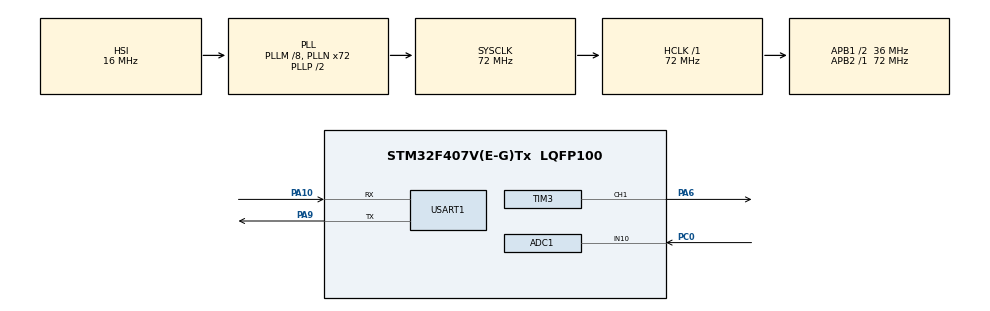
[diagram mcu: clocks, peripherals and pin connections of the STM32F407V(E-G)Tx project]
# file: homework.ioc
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ADC1.Channel-1\#ChannelRegularConversion=ADC_CHANNEL_10
ADC1.ExternalTrigConv=ADC_SOFTWARE_START
ADC1.NbrOfConversionFlag=1
ADC1.Rank-1\#ChannelRegularConversion=1
ADC1.SamplingTime-1\#ChannelRegularConversion=ADC_SAMPLETIME_3CYCLES
ADC1.master=1
Dma.ADC1.2.Direction=DMA_PERIPH_TO_MEMORY
Dma.ADC1.2.FIFOMode=DMA_FIFOMODE_DISABLE
Dma.ADC1.2.Instance=DMA2_Stream0
Dma.ADC1.2.MemDataAlignment=DMA_MDATAALIGN_HALFWORD
Dma.ADC1.2.MemInc=DMA_MINC_ENABLE
Dma.ADC1.2.Mode=DMA_NORMAL
Dma.ADC1.2.PeriphDataAlignment=DMA_PDATAALIGN_HALFWORD
Dma.ADC1.2.PeriphInc=DMA_PINC_DISABLE
Dma.ADC1.2.Priority=DMA_PRIORITY_LOW
Dma.Request0=USART1_RX
Dma.Request1=USART1_TX
Dma.Request2=ADC1
Dma.USART1_RX.0.Direction=DMA_PERIPH_TO_MEMORY
Dma.USART1_RX.0.FIFOMode=DMA_FIFOMODE_DISABLE
Dma.USART1_RX.0.Instance=DMA2_Stream2
Dma.USART1_RX.0.MemDataAlignment=DMA_MDATAALIGN_BYTE
Dma.USART1_RX.0.MemInc=DMA_MINC_ENABLE
Dma.USART1_RX.0.Mode=DMA_NORMAL
Dma.USART1_RX.0.PeriphDataAlignment=DMA_PDATAALIGN_BYTE
Dma.USART1_RX.0.PeriphInc=DMA_PINC_DISABLE
Dma.USART1_RX.0.Priority=DMA_PRIORITY_LOW
Dma.USART1_TX.1.Direction=DMA_MEMORY_TO_PERIPH
Dma.USART1_TX.1.FIFOMode=DMA_FIFOMODE_DISABLE
Dma.USART1_TX.1.Instance=DMA2_Stream7
Dma.USART1_TX.1.MemDataAlignment=DMA_MDATAALIGN_BYTE
Dma.USART1_TX.1.MemInc=DMA_MINC_ENABLE
Dma.USART1_TX.1.Mode=DMA_NORMAL
Dma.USART1_TX.1.PeriphDataAlignment=DMA_PDATAALIGN_BYTE
Dma.USART1_TX.1.PeriphInc=DMA_PINC_DISABLE
Dma.USART1_TX.1.Priority=DMA_PRIORITY_LOW
Mcu.Family=STM32F4
Mcu.Name=STM32F407V(E-G)Tx
Mcu.Package=LQFP100
NVIC.DMA2_Stream0_IRQn=true\:0\:0\:false\:false\:true\:false\:true\:true
NVIC.DMA2_Stream2_IRQn=true\:0\:0\:false\:false\:true\:false\:true\:true
NVIC.DMA2_Stream7_IRQn=true\:0\:0\:false\:false\:true\:false\:true\:true
NVIC.PriorityGroup=NVIC_PRIORITYGROUP_4
NVIC.TIM3_IRQn=true\:0\:0\:false\:false\:true\:true\:true\:true
NVIC.USART1_IRQn=true\:0\:0\:false\:false\:true\:true\:true\:true
PA10.Mode=Asynchronous
PA10.Signal=USART1_RX
PA13.Mode=Serial_Wire
PA13.Signal=SYS_JTMS-SWDIO
PA14.Mode=Serial_Wire
PA14.Signal=SYS_JTCK-SWCLK
PA6.Signal=S_TIM3_CH1
PA9.Mode=Asynchronous
PA9.Signal=USART1_TX
PC0.Signal=ADCx_IN10
PH0-OSC_IN.Mode=HSE-External-Oscillator
PH0-OSC_IN.Signal=RCC_OSC_IN
PH1-OSC_OUT.Mode=HSE-External-Oscillator
PH1-OSC_OUT.Signal=RCC_OSC_OUT
ProjectManager.HeapSize=0x200
ProjectManager.StackSize=0x400
ProjectManager.TargetToolchain=CMake
RCC.48MHZClocksFreq_Value=36000000
RCC.AHBFreq_Value=72000000
RCC.APB1CLKDivider=RCC_HCLK_DIV2
RCC.APB1Freq_Value=36000000
RCC.APB1TimFreq_Value=72000000
RCC.APB2Freq_Value=72000000
RCC.APB2TimFreq_Value=72000000
RCC.CortexFreq_Value=72000000
RCC.HCLKFreq_Value=72000000
RCC.HSE_VALUE=25000000
RCC.HSI_VALUE=16000000
RCC.LSE_VALUE=32768
RCC.PLLM=8
RCC.PLLN=72
RCC.SYSCLKFreq_VALUE=72000000
RCC.SYSCLKSource=RCC_SYSCLKSOURCE_PLLCLK
RCC.VCOOutputFreq_Value=144000000
SH.ADCx_IN10.0=ADC1_IN10,IN10
SH.S_TIM3_CH1.0=TIM3_CH1,PWM Generation1 CH1
TIM2.Period=10-1
TIM2.Prescaler=72-1
TIM2.TIM_MasterOutputTrigger=TIM_TRGO_UPDATE
TIM3.Channel-PWM\ Generation1\ CH1=TIM_CHANNEL_1
TIM3.Period=100-1
TIM3.Prescaler=72-1
USART1.VirtualMode=VM_ASYNC
VP_TIM2_VS_ClockSourceINT.Mode=Internal
VP_TIM3_VS_ClockSourceINT.Mode=Internal
board=custom

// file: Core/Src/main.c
/* USER CODE BEGIN Header */
/**
  ******************************************************************************
  * @file           : main.c
  * @brief          : Main program body
  ******************************************************************************
  * @attention
  *
  * Copyright (c) 2025 STMicroelectronics.
  * All rights reserved.
  *
  * This software is licensed under terms that can be found in the LICENSE file
  * in the root directory of this software component.
  * If no LICENSE file comes with this software, it is provided AS-IS.
  *
  ******************************************************************************
  */
/* USER CODE END Header */
#include "main.h"

/* USER CODE BEGIN Includes */
#include <stdbool.h>
#include <stdio.h>
#include <stdlib.h>
#include <string.h>
/* USER CODE END Includes */

/* USER CODE BEGIN PD */
#define BRIGHTNESS 225
#define ADC_BUFFER 1
/* USER CODE END PD */

ADC_HandleTypeDef hadc1;
DMA_HandleTypeDef hdma_adc1;

TIM_HandleTypeDef htim2;
TIM_HandleTypeDef htim3;

UART_HandleTypeDef huart1;
DMA_HandleTypeDef hdma_usart1_rx;
DMA_HandleTypeDef hdma_usart1_tx;

/* USER CODE BEGIN PV */
//点灯
char message[40]="";
int blink_frequency,breathe_frequency;
uint32_t blink_update,blink_counter=0,blink_mode=0;
uint32_t breathe_update,breathe_counter=0,breathe_mode=0,breathe_compare;
int blink_state=0,breathe_state=0;//breathe_state=1代表渐亮，0代表渐暗;
//DMA测量
int value = 0;
float voltage = 0.0;
char DMA_message[30] = "";
uint32_t last_adc_print = 0;
/* USER CODE END PV */

void SystemClock_Config(void);
static void MX_GPIO_Init(void);
static void MX_DMA_Init(void);
static void MX_TIM3_Init(void);
static void MX_USART1_UART_Init(void);
static void MX_ADC1_Init(void);
static void MX_TIM2_Init(void);

/* USER CODE BEGIN 0 */
//点灯，引脚PA6
void HAL_UARTEx_RxEventCallback(UART_HandleTypeDef *huart, uint16_t Size) {
  if (huart == &huart1) {
    message[Size]='\0';
    blink_mode=0;
    breathe_mode=0;
    HAL_UART_Transmit(&huart1, (uint8_t *)message, Size,HAL_MAX_DELAY);
    if (strncmp(message,"set_mode on",11)==0) {
      HAL_TIM_PWM_Start(&htim3, TIM_CHANNEL_1);
      __HAL_TIM_SET_COMPARE(&htim3,TIM_CHANNEL_1,150);//重装载是0-255
    }
    else if (strncmp(message,"set_mode off",12)==0) {
      HAL_TIM_PWM_Stop(&htim3, TIM_CHANNEL_1);
    }
    else if (strncmp(message,"set_brightness ",15)==0) {
      HAL_TIM_PWM_Start(&htim3, TIM_CHANNEL_1);
      int brightness=atoi(message+15);//亮度介于0-255之间
      __HAL_TIM_SET_COMPARE(&htim3,TIM_CHANNEL_1,brightness);
    }
    else if (strncmp(message,"set_mode blink ",15)==0) {
      HAL_TIM_PWM_Start(&htim3, TIM_CHANNEL_1);
      blink_mode=1;
      blink_frequency=atoi(message+15);
      blink_update=2212/blink_frequency;//算阈值
      }
    else if (strncmp(message,"set_mode breathe ",17)==0) {
      HAL_TIM_PWM_Start(&htim3, TIM_CHANNEL_1);
      breathe_mode=1;
      breathe_frequency=atoi(message+17);
      breathe_update=2212/breathe_frequency;
    }
    memset(message,0,40);
    HAL_UARTEx_ReceiveToIdle_DMA(&huart1,(uint8_t*)message,40);
    __HAL_DMA_DISABLE_IT(&hdma_usart1_rx,DMA_IT_HT);
  }
}
void HAL_TIM_PeriodElapsedCallback(TIM_HandleTypeDef *htim) {//按频率闪烁，用于计算PWM周期的次数，以便到达阈值后反转小灯状态
  if (htim->Instance == htim3.Instance) {
    if (blink_frequency>0&&blink_mode==1) {
      if (blink_update>0) {
        blink_counter++;
        if (blink_counter>=blink_update) {
          blink_counter=0;
          blink_state=!blink_state;
        }
      }
    }
    if (breathe_mode==1) {
      if (breathe_frequency>0) {
        if (breathe_update>0) {
          breathe_counter++;
          if (breathe_counter>=breathe_update) {
            breathe_counter=0;
            breathe_state=!breathe_state;
          }
          if (breathe_state==1) {
            breathe_compare=breathe_counter*BRIGHTNESS/breathe_update;
          }
          else {
            breathe_compare=1-breathe_counter*BRIGHTNESS/breathe_update;
          }
          __HAL_TIM_SET_COMPARE(&htim3,TIM_CHANNEL_1,breathe_compare);
        }
      }
    }
  }
  if (htim->Instance == htim2.Instance) {//tim2中断处理，ADC测量结果发送频率为72M/72/100000=10Hz，100ms发送一次
    if (value <=4095) {
      voltage = (value/4095)*3.3;
      sprintf(DMA_message,"Voltage: %.2fV",voltage);
      HAL_UART_Transmit(&huart1,(uint8_t *)DMA_message,strlen(DMA_message),HAL_MAX_DELAY);
    }
  }
}

/* USER CODE END 0 */

int main(void)
{

  /* MCU Configuration--------------------------------------------------------*/

  /* Reset of all peripherals, Initializes the Flash interface and the Systick. */
  HAL_Init();

  /* Configure the system clock */
  SystemClock_Config();

  /* Initialize all configured peripherals */
  MX_GPIO_Init();
  MX_DMA_Init();
  MX_TIM3_Init();
  MX_USART1_UART_Init();
  MX_ADC1_Init();
  MX_TIM2_Init();
  /* USER CODE BEGIN 2 */
  __HAL_TIM_ENABLE_IT(&htim3,TIM_IT_UPDATE);
  HAL_UARTEx_ReceiveToIdle_DMA(&huart1,(uint8_t*)message,40);
  __HAL_DMA_DISABLE_IT(&hdma_usart1_rx,DMA_IT_HT);
  HAL_TIM_Base_Start(&htim2);
  HAL_ADC_Start_DMA(&hadc1,(uint32_t*)value,ADC_BUFFER);
  /* USER CODE END 2 */

  /* Infinite loop */
  /* USER CODE BEGIN WHILE */
  while (1) {
    if (blink_mode==1) {
      if (blink_state==1) {
        __HAL_TIM_SET_COMPARE(&htim3,TIM_CHANNEL_1,225);
      }
      else {
        __HAL_TIM_SET_COMPARE(&htim3,TIM_CHANNEL_1,0);
      }
    }
  }

    /* USER CODE END WHILE */

}

void SystemClock_Config(void)
{
  RCC_OscInitTypeDef RCC_OscInitStruct = {0};
  RCC_ClkInitTypeDef RCC_ClkInitStruct = {0};

  /** Configure the main internal regulator output voltage
  */
  __HAL_RCC_PWR_CLK_ENABLE();
  __HAL_PWR_VOLTAGESCALING_CONFIG(PWR_REGULATOR_VOLTAGE_SCALE1);

  /** Initializes the RCC Oscillators according to the specified parameters
  * in the RCC_OscInitTypeDef structure.
  */
  RCC_OscInitStruct.OscillatorType = RCC_OSCILLATORTYPE_HSI;
  RCC_OscInitStruct.HSIState = RCC_HSI_ON;
  RCC_OscInitStruct.HSICalibrationValue = RCC_HSICALIBRATION_DEFAULT;
  RCC_OscInitStruct.PLL.PLLState = RCC_PLL_ON;
  RCC_OscInitStruct.PLL.PLLSource = RCC_PLLSOURCE_HSI;
  RCC_OscInitStruct.PLL.PLLM = 8;
  RCC_OscInitStruct.PLL.PLLN = 72;
  RCC_OscInitStruct.PLL.PLLP = RCC_PLLP_DIV2;
  RCC_OscInitStruct.PLL.PLLQ = 4;
  if (HAL_RCC_OscConfig(&RCC_OscInitStruct) != HAL_OK)
  {
    Error_Handler();
  }

  /** Initializes the CPU, AHB and APB buses clocks
  */
  RCC_ClkInitStruct.ClockType = RCC_CLOCKTYPE_HCLK|RCC_CLOCKTYPE_SYSCLK
                              |RCC_CLOCKTYPE_PCLK1|RCC_CLOCKTYPE_PCLK2;
  RCC_ClkInitStruct.SYSCLKSource = RCC_SYSCLKSOURCE_PLLCLK;
  RCC_ClkInitStruct.AHBCLKDivider = RCC_SYSCLK_DIV1;
  RCC_ClkInitStruct.APB1CLKDivider = RCC_HCLK_DIV2;
  RCC_ClkInitStruct.APB2CLKDivider = RCC_HCLK_DIV1;

  if (HAL_RCC_ClockConfig(&RCC_ClkInitStruct, FLASH_LATENCY_2) != HAL_OK)
  {
    Error_Handler();
  }
}

static void MX_ADC1_Init(void)
{

  ADC_ChannelConfTypeDef sConfig = {0};

  /** Configure the global features of the ADC (Clock, Resolution, Data Alignment and number of conversion)
  */
  hadc1.Instance = ADC1;
  hadc1.Init.ClockPrescaler = ADC_CLOCK_SYNC_PCLK_DIV2;
  hadc1.Init.Resolution = ADC_RESOLUTION_12B;
  hadc1.Init.ScanConvMode = DISABLE;
  hadc1.Init.ContinuousConvMode = DISABLE;
  hadc1.Init.DiscontinuousConvMode = DISABLE;
  hadc1.Init.ExternalTrigConvEdge = ADC_EXTERNALTRIGCONVEDGE_NONE;
  hadc1.Init.ExternalTrigConv = ADC_SOFTWARE_START;
  hadc1.Init.DataAlign = ADC_DATAALIGN_RIGHT;
  hadc1.Init.NbrOfConversion = 1;
  hadc1.Init.DMAContinuousRequests = DISABLE;
  hadc1.Init.EOCSelection = ADC_EOC_SINGLE_CONV;
  if (HAL_ADC_Init(&hadc1) != HAL_OK)
  {
    Error_Handler();
  }

  /** Configure for the selected ADC regular channel its corresponding rank in the sequencer and its sample time.
  */
  sConfig.Channel = ADC_CHANNEL_10;
  sConfig.Rank = 1;
  sConfig.SamplingTime = ADC_SAMPLETIME_3CYCLES;
  if (HAL_ADC_ConfigChannel(&hadc1, &sConfig) != HAL_OK)
  {
    Error_Handler();
  }

}

static void MX_TIM2_Init(void)
{

  TIM_ClockConfigTypeDef sClockSourceConfig = {0};
  TIM_MasterConfigTypeDef sMasterConfig = {0};

  htim2.Instance = TIM2;
  htim2.Init.Prescaler = 72-1;
  htim2.Init.CounterMode = TIM_COUNTERMODE_UP;
  htim2.Init.Period = 10-1;
  htim2.Init.ClockDivision = TIM_CLOCKDIVISION_DIV1;
  htim2.Init.AutoReloadPreload = TIM_AUTORELOAD_PRELOAD_DISABLE;
  if (HAL_TIM_Base_Init(&htim2) != HAL_OK)
  {
    Error_Handler();
  }
  sClockSourceConfig.ClockSource = TIM_CLOCKSOURCE_INTERNAL;
  if (HAL_TIM_ConfigClockSource(&htim2, &sClockSourceConfig) != HAL_OK)
  {
    Error_Handler();
  }
  sMasterConfig.MasterOutputTrigger = TIM_TRGO_UPDATE;
  sMasterConfig.MasterSlaveMode = TIM_MASTERSLAVEMODE_DISABLE;
  if (HAL_TIMEx_MasterConfigSynchronization(&htim2, &sMasterConfig) != HAL_OK)
  {
    Error_Handler();
  }

}

static void MX_TIM3_Init(void)
{

  TIM_ClockConfigTypeDef sClockSourceConfig = {0};
  TIM_MasterConfigTypeDef sMasterConfig = {0};
  TIM_OC_InitTypeDef sConfigOC = {0};

  htim3.Instance = TIM3;
  htim3.Init.Prescaler = 72-1;
  htim3.Init.CounterMode = TIM_COUNTERMODE_UP;
  htim3.Init.Period = 100-1;
  htim3.Init.ClockDivision = TIM_CLOCKDIVISION_DIV1;
  htim3.Init.AutoReloadPreload = TIM_AUTORELOAD_PRELOAD_DISABLE;
  if (HAL_TIM_Base_Init(&htim3) != HAL_OK)
  {
    Error_Handler();
  }
  sClockSourceConfig.ClockSource = TIM_CLOCKSOURCE_INTERNAL;
  if (HAL_TIM_ConfigClockSource(&htim3, &sClockSourceConfig) != HAL_OK)
  {
    Error_Handler();
  }
  if (HAL_TIM_PWM_Init(&htim3) != HAL_OK)
  {
    Error_Handler();
  }
  sMasterConfig.MasterOutputTrigger = TIM_TRGO_RESET;
  sMasterConfig.MasterSlaveMode = TIM_MASTERSLAVEMODE_DISABLE;
  if (HAL_TIMEx_MasterConfigSynchronization(&htim3, &sMasterConfig) != HAL_OK)
  {
    Error_Handler();
  }
  sConfigOC.OCMode = TIM_OCMODE_PWM1;
  sConfigOC.Pulse = 0;
  sConfigOC.OCPolarity = TIM_OCPOLARITY_HIGH;
  sConfigOC.OCFastMode = TIM_OCFAST_DISABLE;
  if (HAL_TIM_PWM_ConfigChannel(&htim3, &sConfigOC, TIM_CHANNEL_1) != HAL_OK)
  {
    Error_Handler();
  }
  HAL_TIM_MspPostInit(&htim3);

}

static void MX_USART1_UART_Init(void)
{

  huart1.Instance = USART1;
  huart1.Init.BaudRate = 115200;
  huart1.Init.WordLength = UART_WORDLENGTH_8B;
  huart1.Init.StopBits = UART_STOPBITS_1;
  huart1.Init.Parity = UART_PARITY_NONE;
  huart1.Init.Mode = UART_MODE_TX_RX;
  huart1.Init.HwFlowCtl = UART_HWCONTROL_NONE;
  huart1.Init.OverSampling = UART_OVERSAMPLING_16;
  if (HAL_UART_Init(&huart1) != HAL_OK)
  {
    Error_Handler();
  }

}

static void MX_DMA_Init(void)
{

  /* DMA controller clock enable */
  __HAL_RCC_DMA2_CLK_ENABLE();

  /* DMA interrupt init */
  /* DMA2_Stream0_IRQn interrupt configuration */
  HAL_NVIC_SetPriority(DMA2_Stream0_IRQn, 0, 0);
  HAL_NVIC_EnableIRQ(DMA2_Stream0_IRQn);
  /* DMA2_Stream2_IRQn interrupt configuration */
  HAL_NVIC_SetPriority(DMA2_Stream2_IRQn, 0, 0);
  HAL_NVIC_EnableIRQ(DMA2_Stream2_IRQn);
  /* DMA2_Stream7_IRQn interrupt configuration */
  HAL_NVIC_SetPriority(DMA2_Stream7_IRQn, 0, 0);
  HAL_NVIC_EnableIRQ(DMA2_Stream7_IRQn);

}

static void MX_GPIO_Init(void)
{

  /* GPIO Ports Clock Enable */
  __HAL_RCC_GPIOH_CLK_ENABLE();
  __HAL_RCC_GPIOC_CLK_ENABLE();
  __HAL_RCC_GPIOA_CLK_ENABLE();

}

void Error_Handler(void)
{
  __disable_irq();
  while (1)
  {
  }
}
